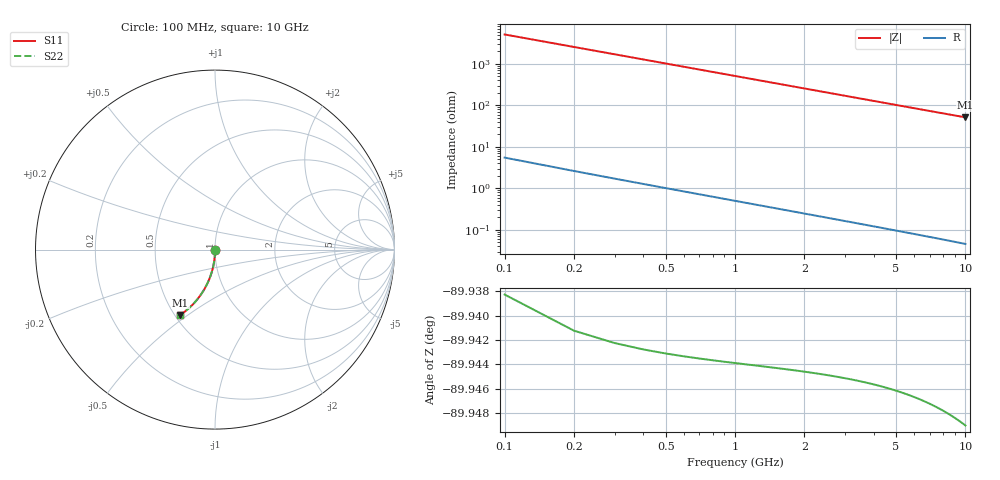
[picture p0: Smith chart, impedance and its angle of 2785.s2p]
# Hz S RI R 50.00
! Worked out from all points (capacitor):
!   100 points, 100 MHz to 10 GHz, reference 50 ohm
!   read as one part in shunt: C = 311 fF near 100 MHz
!   lowest |Z| = 51.6 ohm at 10 GHz (marker M1)
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1e8  0.000173 -0.00456  0.9998 -0.00519  0.9998 -0.00519  0.000173 -0.00456
2e8  9.84e-05 -0.00913  0.9997 -0.0104  0.9997 -0.0104  9.84e-05 -0.00913
3e8  -2.38e-05 -0.0137  0.9996 -0.0156  0.9996 -0.0156  -2.38e-05 -0.0137
4e8  -0.000193 -0.0182  0.9994 -0.0208  0.9994 -0.0208  -0.000193 -0.0182
5e8  -0.000411 -0.0228  0.9992 -0.0259  0.9992 -0.0259  -0.000411 -0.0228
6e8  -0.000675 -0.0274  0.9989 -0.0311  0.9989 -0.0311  -0.000675 -0.0274
7e8  -0.000987 -0.0319  0.9986 -0.0363  0.9986 -0.0363  -0.000987 -0.0319
8e8  -0.00135 -0.0365  0.9982 -0.0415  0.9982 -0.0415  -0.00135 -0.0365
9e8  -0.00175 -0.041  0.9978 -0.0466  0.9978 -0.0466  -0.00175 -0.041
1.1e9  -0.0027 -0.0501  0.9969 -0.057  0.9969 -0.057  -0.0027 -0.0501
1.4e9  -0.00448 -0.0636  0.9951 -0.0724  0.9951 -0.0724  -0.00448 -0.0636
1.8e9  -0.0075 -0.0815  0.992 -0.0928  0.992 -0.0928  -0.0075 -0.0815
2.1e9  -0.0102 -0.0948  0.9893 -0.108  0.9893 -0.108  -0.0102 -0.0948
2.5e9  -0.0145 -0.1124  0.9849 -0.1281  0.9849 -0.1281  -0.0145 -0.1124
2.9e9  -0.0195 -0.1297  0.9799 -0.1479  0.9799 -0.1479  -0.0195 -0.1297
3.4e9  -0.0267 -0.1509  0.9727 -0.1722  0.9727 -0.1722  -0.0267 -0.1509
4.2e9  -0.0402 -0.1837  0.959 -0.2101  0.959 -0.2101  -0.0402 -0.1837
5.1e9  -0.0583 -0.2187  0.9407 -0.2508  0.9407 -0.2508  -0.0583 -0.2187
5.9e9  -0.0766 -0.2478  0.9222 -0.285  0.9222 -0.285  -0.0766 -0.2478
6.7e9  -0.0968 -0.275  0.9018 -0.3172  0.9018 -0.3172  -0.0968 -0.275
8.4e9  -0.1447 -0.3257  0.8535 -0.3787  0.8535 -0.3787  -0.1447 -0.3257
1e10  -0.1939 -0.3642  0.8036 -0.4275  0.8036 -0.4275  -0.1939 -0.3642
